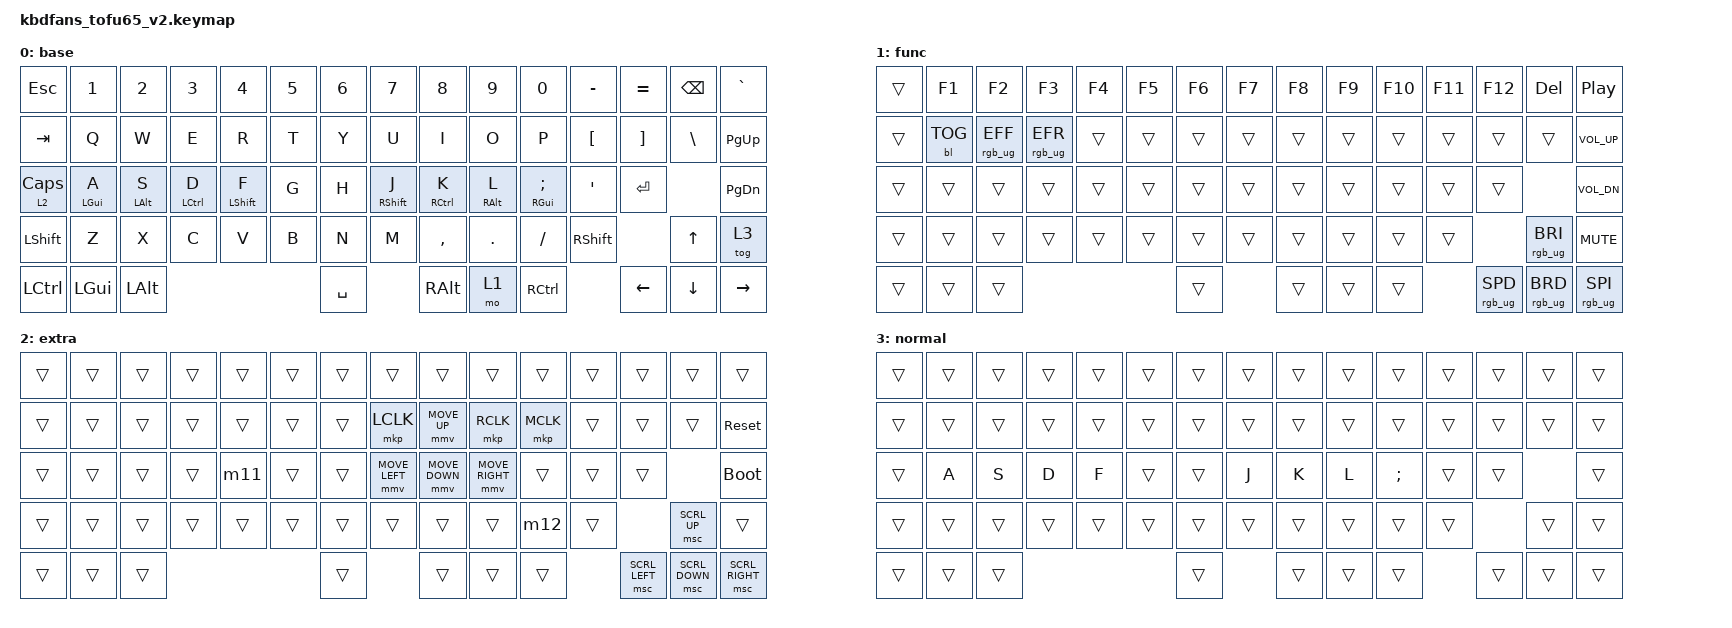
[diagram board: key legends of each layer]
// Copyright (c) 2023 The ZMK Contributors
// SPDX-License-Identifier: MIT

#include <behaviors.dtsi>
#include <dt-bindings/zmk/backlight.h>
#include <dt-bindings/zmk/keys.h>
#include <dt-bindings/zmk/pointing.h>
#include <dt-bindings/zmk/pointing.h>
#include <dt-bindings/zmk/pointing.h>
#include <dt-bindings/zmk/rgb.h>

#define BASE  0
#define FUNC  1

//
// ---------- Tofu65 2.0 key switch positions ----------
//
// -------------------------------------------------------------------------------------------------
// |  0  |  1  |  2  |  3  |  4  |  5  |  6  |  7  |  8  |  9  |  10  |  11  |  12  |   13   |  14 |
// -------------------------------------------------------------------------------------------------
// |  15    |  16 |  17 |  18 |  19 |  20 |  21 |  22 |  23 |  24 |  24 |  26 |  27 |   28   |  29 |
// -------------------------------------------------------------------------------------------------
// |  30     |  31 |  32 |  33 |  34 |  35 |  36 |  37 |  38 |  39 |  40 |  41  |     42     |  43 |
// -------------------------------------------------------------------------------------------------
// |     44     |  45 |  46 |  47 |  48 |  49 |  50 |  51 |  52 |  53 |  54 |    55   |  56  |  57 |
// -------------------------------------------------------------------------------------------------
// |   58  |   59  |   60  |                   61              |  62 |  63 |  64 |  65 |  66 |  67 |
// -------------------------------------------------------------------------------------------------
//

/ {
    combos {
        compatible = "zmk,combos";

        // BACKSPACE + LCTRL + LALT = &sys_reset

        combo_bootloader {
            timeout-ms = <100>;
            key-positions = <13 58 60>;
            bindings = <&sys_reset>;
        };

        // RETURN + LCTRL + LALT = &bootloader

        combo_sys_reset {
            timeout-ms = <100>;
            key-positions = <42 58 60>;
            bindings = <&bootloader>;
        };
    };

    macros {
        m11: m11 {
            compatible = "zmk,behavior-macro";
            #binding-cells = <0>;
            bindings = <&kp LS(LG(SPACE))>;
            label = "M11";
        };

        m12: m12 {
            compatible = "zmk,behavior-macro";
            #binding-cells = <0>;
            bindings = <&kp LS(LG(FSLH))>;
            label = "M12";
        };
    };

    behaviors {
        hml: hml {
            compatible = "zmk,behavior-hold-tap";
            label = "HML";
            bindings = <&kp>, <&kp>;

            #binding-cells = <2>;
            tapping-term-ms = <200>;
            quick-tap-ms = <175>;
            require-prior-idle-ms = <150>;
            flavor = "balanced";
            hold-trigger-key-positions = <16 17 18 19 20 31 32 33 34 35 45 46 47 48 49>;
            hold-trigger-on-release;
        };

        hmr: hmr {
            compatible = "zmk,behavior-hold-tap";
            label = "HMR";
            bindings = <&kp>, <&kp>;

            #binding-cells = <2>;
            tapping-term-ms = <200>;
            quick-tap-ms = <175>;
            require-prior-idle-ms = <150>;
            flavor = "balanced";
            hold-trigger-on-release;
            hold-trigger-key-positions = <25 24 23 22 21 36 37 38 39 40 50 51 52 53 54>;
        };
    };

    keymap {
        compatible = "zmk,keymap";

        base {
            // --------- Default QWERTY Layout ---------
            // Layer 0 BASE
            // -------------------------------------------------------------------------------------------------
            // | ESC |  1  |  2  |  3  |  4  |  5  |  6  |  7  |  8  |  9  |  0  |  -  |  =  |    BSPC   | HME |
            // -------------------------------------------------------------------------------------------------
            // | TAB    |  Q  |  W  |  E  |  R  |  T  |  Y  |  U  |  I  |  O  |  P  |  [  |  ]   |   \   | PGU |
            // -------------------------------------------------------------------------------------------------
            // | CAPS    |  A  |  S  |  D  |  F  |  G  |  H  |  J  |  K  |  L  |  ;  |  '   |    ENTER   | PGD |
            // -------------------------------------------------------------------------------------------------
            // | LSHIFT     |  Z  |  X  |  C  |  V  |  B  |  N  |  M  |  ,  |  .  |  /  |    RSHFT |  ↑  | END |
            // -------------------------------------------------------------------------------------------------
            // | LCTL | LGUI | LALT |                     SPACE         | RALT | RGUI | RCTL |  <- |  ↓  | ->  |
            // -------------------------------------------------------------------------------------------------

            bindings = <
&kp ESC     &kp N1       &kp N2       &kp N3        &kp N4         &kp N5  &kp N6     &kp N7         &kp N8        &kp N9       &kp N0               &kp MINUS  &kp EQUAL  &kp BSPC  &kp GRAVE
&kp TAB     &kp Q        &kp W        &kp E         &kp R          &kp T   &kp Y      &kp U          &kp I         &kp O        &kp P                &kp LBKT   &kp RBKT   &kp BSLH  &kp PG_UP
&lt 2 CAPS  &hml LGUI A  &hml LALT S  &hml LCTRL D  &hml LSHIFT F  &kp G   &kp H      &hmr RSHIFT J  &hmr RCTRL K  &hmr RALT L  &hmr RGUI SEMICOLON  &kp SQT    &kp ENTER            &kp PG_DN
&kp LSHFT   &kp Z        &kp X        &kp C         &kp V          &kp B   &kp N      &kp M          &kp COMMA     &kp DOT      &kp FSLH             &kp RSHFT             &kp UP    &tog 3
&kp LCTRL   &kp LGUI     &kp LALT                                          &kp SPACE                 &kp RALT      &mo 1        &kp RCTRL                       &kp LEFT   &kp DOWN  &kp RIGHT
            >;
        };

        func {
            // --------- Default QWERTY Layout ---------
            // Layer 1 FUNC
            // ---------------------------------------------------------------------------------------------------
            // | ESC | F1  | F2  | F3  | F4  | F5  | F6  | F7  | F8  | F9  | F10 | F11 | F12 |    DEL     | HME  |
            // ---------------------------------------------------------------------------------------------------
            // | ---    | -- | -- | -- | -- | -- | -- | -- | -- | -- | -- | scroll lock | pause |   ---   | PGU  |
            // ---------------------------------------------------------------------------------------------------
            // | CAPS    | --  | --  | --  | --  | --  | --  | --  | --  | --  | --  | --  |     ---      | PGD  |
            // ---------------------------------------------------------------------------------------------------
            // | LSHIFT     | -- | -- | -- | -- | -- | -- | -- | -- | -- | -- |      -----      | VOL UP  | MUTE |
            // ---------------------------------------------------------------------------------------------------
            // | ---- | ---- | ---- |                     ----         | -- | MO 1 | -- | PREV  | VOL DN  | NEXT |
            // ---------------------------------------------------------------------------------------------------

            bindings = <
&trans  &kp F1      &kp F2           &kp F3           &kp F4  &kp F5  &kp F6  &kp F7  &kp F8  &kp F9  &kp F10  &kp F11  &kp F12          &kp DEL          &kp C_PP
&trans  &bl BL_TOG  &rgb_ug RGB_EFF  &rgb_ug RGB_EFR  &trans  &trans  &trans  &trans  &trans  &trans  &trans   &trans   &trans           &trans           &kp C_VOL_UP
&trans  &trans      &trans           &trans           &trans  &trans  &trans  &trans  &trans  &trans  &trans   &trans   &trans                            &kp C_VOL_DN
&trans  &trans      &trans           &trans           &trans  &trans  &trans  &trans  &trans  &trans  &trans   &trans                    &rgb_ug RGB_BRI  &kp C_MUTE
&trans  &trans      &trans                                            &trans          &trans  &trans  &trans            &rgb_ug RGB_SPD  &rgb_ug RGB_BRD  &rgb_ug RGB_SPI
            >;
        };

        extra {
            bindings = <
&trans  &trans  &trans  &trans  &trans  &trans  &trans  &trans          &trans          &trans           &trans     &trans  &trans          &trans          &trans
&trans  &trans  &trans  &trans  &trans  &trans  &trans  &mkp LCLK       &mmv MOVE_UP    &mkp RCLK        &mkp MCLK  &trans  &trans          &trans          &sys_reset
&trans  &trans  &trans  &trans  &m11    &trans  &trans  &mmv MOVE_LEFT  &mmv MOVE_DOWN  &mmv MOVE_RIGHT  &trans     &trans  &trans                          &bootloader
&trans  &trans  &trans  &trans  &trans  &trans  &trans  &trans          &trans          &trans           &m12       &trans                  &msc SCRL_UP    &trans
&trans  &trans  &trans                          &trans                  &trans          &trans           &trans             &msc SCRL_LEFT  &msc SCRL_DOWN  &msc SCRL_RIGHT
            >;
        };

        normal {
            bindings = <
&trans  &trans  &trans  &trans  &trans  &trans  &trans  &trans  &trans  &trans  &trans    &trans  &trans  &trans  &trans
&trans  &trans  &trans  &trans  &trans  &trans  &trans  &trans  &trans  &trans  &trans    &trans  &trans  &trans  &trans
&trans  &kp A   &kp S   &kp D   &kp F   &trans  &trans  &kp J   &kp K   &kp L   &kp SEMI  &trans  &trans          &trans
&trans  &trans  &trans  &trans  &trans  &trans  &trans  &trans  &trans  &trans  &trans    &trans          &trans  &trans
&trans  &trans  &trans                          &trans          &trans  &trans  &trans            &trans  &trans  &trans
            >;
        };
    };
};
